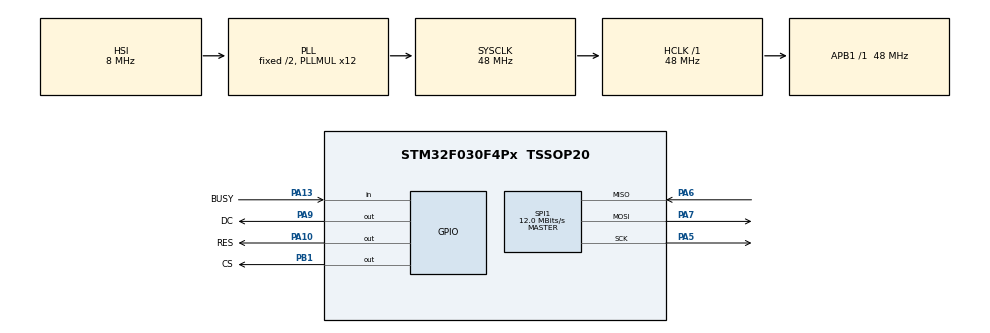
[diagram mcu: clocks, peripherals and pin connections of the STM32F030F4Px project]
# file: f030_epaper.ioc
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Mcu.Family=STM32F0
Mcu.Name=STM32F030F4Px
Mcu.Package=TSSOP20
PA10.GPIO_Label=RES
PA10.Signal=GPIO_Output
PA13.GPIO_Label=BUSY
PA13.Signal=GPIO_Input
PA5.Mode=Full_Duplex_Master
PA5.Signal=SPI1_SCK
PA6.Mode=Full_Duplex_Master
PA6.Signal=SPI1_MISO
PA7.Mode=Full_Duplex_Master
PA7.Signal=SPI1_MOSI
PA9.GPIO_Label=DC
PA9.Signal=GPIO_Output
PB1.GPIO_Label=CS
PB1.Signal=GPIO_Output
ProjectManager.HeapSize=0x200
ProjectManager.StackSize=0x400
ProjectManager.TargetToolchain=MDK-ARM V5
RCC.AHBFreq_Value=48000000
RCC.APB1Freq_Value=48000000
RCC.APB1TimFreq_Value=48000000
RCC.HCLKFreq_Value=48000000
RCC.PLLMUL=RCC_PLL_MUL12
RCC.SYSCLKFreq_VALUE=48000000
RCC.SYSCLKSource=RCC_SYSCLKSOURCE_PLLCLK
SPI1.BaudRatePrescaler=SPI_BAUDRATEPRESCALER_4
SPI1.CalculateBaudRate=12.0 MBits/s
SPI1.DataSize=SPI_DATASIZE_8BIT
SPI1.Direction=SPI_DIRECTION_2LINES
SPI1.Mode=SPI_MODE_MASTER
SPI1.VirtualType=VM_MASTER
board=custom

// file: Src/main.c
/* USER CODE BEGIN Header */
/**
  ******************************************************************************
  * @file           : main.c
  * @brief          : Main program body
  ******************************************************************************
  * @attention
  *
  * <h2><center>&copy; Copyright (c) 2019 STMicroelectronics.
  * All rights reserved.</center></h2>
  *
  * This software component is licensed by ST under BSD 3-Clause license,
  * the "License"; You may not use this file except in compliance with the
  * License. You may obtain a copy of the License at:
  *                        opensource.org/licenses/BSD-3-Clause
  *
  ******************************************************************************
  */
/* USER CODE END Header */

#include "main.h"
#include "spi.h"
#include "gpio.h"
#include "epd_2in9.h"

/* USER CODE BEGIN PV */
const uint8_t gImage_logo[4736] = { /* 0X00,0X01,0X80,0X00,0X28,0X01, */
0XFF,0XFF,0XFF,0XFF,0XFF,0XFF,0XFF,0XFF,0XFF,0XFF,0XFF,0XFF,0XFF,0XFF,0XFF,0XFF,
0XFF,0XFF,0XFF,0XFF,0XFF,0XFF,0XFF,0XFF,0XFF,0XFF,0XFF,0XFF,0XFF,0XFF,0XFF,0XFF,
0XFF,0XFF,0XFF,0XFF,0XFF,0XFF,0XFF,0XFF,0XFF,0XFF,0XFF,0XFF,0XFF,0XFF,0XFF,0XFF,
0XFF,0XFF,0XFF,0XFF,0XFF,0XFF,0XFF,0XFF,0XFF,0XFF,0XFF,0XFF,0XFF,0XFF,0XFF,0XFF,
0XFF,0XFF,0XFF,0XFF,0XFF,0XFF,0XFF,0XFF,0XFF,0XFF,0XFF,0XFF,0XFF,0XFF,0XFF,0XFF,
0XFF,0XFF,0XFF,0XFF,0XFF,0XFF,0XFF,0X80,0X03,0XFF,0XFF,0XFF,0XFF,0XFF,0XFF,0XFF,
0XFF,0XFF,0XFF,0XFF,0XFF,0XFF,0XFC,0X00,0X00,0XFF,0XFF,0XFF,0XFF,0XFF,0XFF,0XFF,
0XFF,0XFF,0XFF,0XFF,0XFF,0XFF,0XF8,0X00,0X00,0X3F,0XFF,0XFF,0XFF,0XFF,0XFF,0XFF,
0XFF,0XFF,0XFF,0XFF,0XFF,0XFF,0XE0,0X00,0X00,0X0F,0XFF,0XFF,0XFF,0XFF,0XFF,0XFF,
0XFF,0XFF,0XFF,0XFF,0XFF,0XFF,0X80,0X00,0X00,0X03,0XFF,0XFF,0XFF,0XFF,0XFF,0XFF,
0XFF,0XFF,0XFF,0XFF,0XFF,0XFE,0X00,0X00,0X00,0X01,0XFF,0XFF,0XFF,0XFF,0XFF,0XFF,
0XFF,0XFF,0XFF,0XFF,0XFF,0XFC,0X00,0X00,0X00,0X00,0X7F,0XFF,0XFF,0XFF,0XFF,0XFF,
0XFF,0XFF,0XFF,0XFF,0XFF,0XF0,0X00,0X00,0X00,0X00,0X1F,0XFF,0XFF,0XFF,0XFF,0XFF,
0XFF,0XFF,0XFF,0XFF,0XFF,0XC0,0X00,0X00,0X00,0X00,0X07,0XFF,0XFF,0XFF,0XFF,0XFF,
0XFF,0XFF,0XFF,0XFF,0XFF,0X00,0X00,0X00,0X00,0X00,0X03,0XFF,0XFF,0XFF,0XFF,0XFF,
0XFF,0XFF,0XFF,0XFF,0XFE,0X00,0X00,0X1F,0XE0,0X00,0X00,0XFF,0XFF,0XFF,0XFF,0XFF,
0XFF,0XFF,0XFF,0XFF,0XF8,0X00,0X00,0X7F,0XF8,0X00,0X00,0X3F,0XFF,0XFF,0XFF,0XFF,
0XFF,0XFF,0XFF,0XFF,0XE0,0X00,0X00,0XFF,0XFE,0X00,0X00,0X0F,0XFF,0XFF,0XFF,0XFF,
0XFF,0XFF,0XFF,0XFF,0X80,0X00,0X03,0XFF,0XFF,0X80,0X00,0X07,0XFF,0XFF,0XFF,0XFF,
0XFF,0XFF,0XFF,0XFF,0X00,0X00,0X0F,0XFF,0XFF,0XE0,0X00,0X01,0XFF,0XFF,0XFF,0XFF,
0XFF,0XFF,0XFF,0XFC,0X00,0X00,0X3F,0XFF,0XFF,0XF0,0X00,0X00,0X7F,0XFF,0XFF,0XFF,
0XFF,0XFF,0XFF,0XF0,0X00,0X00,0X7F,0XFF,0XFF,0XFC,0X00,0X00,0X3F,0XFF,0XFF,0XFF,
0XFF,0XFF,0XFF,0XC0,0X00,0X01,0XFF,0XFF,0XFF,0XFF,0X00,0X00,0X0F,0XFF,0XFF,0XFF,
0XFF,0XFF,0XFF,0X80,0X00,0X07,0XFF,0XFF,0XFF,0XFF,0XC0,0X00,0X03,0XFF,0XFF,0XFF,
0XFF,0XFF,0XFE,0X00,0X00,0X1F,0XFF,0XFF,0XFF,0XFF,0XE0,0X00,0X00,0XFF,0XFF,0XFF,
0XFF,0XFF,0XF8,0X00,0X00,0X3F,0XFF,0XFF,0XFF,0XFF,0XF8,0X00,0X00,0X7F,0XFF,0XFF,
0XFF,0XFF,0XF0,0X00,0X00,0XFF,0XFF,0XFF,0XFF,0XFF,0XFE,0X00,0X00,0X1F,0XFF,0XFF,
0XFF,0XFF,0XC0,0X00,0X03,0XFF,0XFF,0XFF,0XFF,0XFF,0XFF,0X80,0X00,0X0F,0XFF,0XFF,
0XFF,0XFF,0X80,0X00,0X0F,0XFF,0XFF,0XFF,0XFF,0XFF,0XFF,0XC0,0X00,0X03,0XFF,0XFF,
0XFF,0XFF,0X00,0X00,0X1F,0XFF,0XFF,0XFF,0XFF,0XFF,0XFF,0XF0,0X00,0X01,0XFF,0XFF,
0XFF,0XFE,0X00,0X00,0X7F,0XFF,0XFF,0XFF,0XFF,0XFF,0XFF,0XFC,0X00,0X00,0XFF,0XFF,
0XFF,0XFC,0X00,0X01,0XFF,0XFF,0XFF,0XFF,0XFF,0XFF,0XFF,0XFE,0X00,0X00,0XFF,0XFF,
0XFF,0XFC,0X00,0X07,0XFF,0XFF,0XFF,0XFF,0XFF,0XFF,0XFF,0XFF,0X80,0X00,0X7F,0XFF,
0XFF,0XF8,0X00,0X0F,0XFF,0XFF,0XFF,0XFF,0XFF,0XFF,0XFF,0XFF,0XE0,0X00,0X3F,0XFF,
0XFF,0XF8,0X00,0X3F,0XFE,0X07,0XFF,0XFF,0XFF,0XFF,0XFF,0XFF,0XF8,0X00,0X3F,0XFF,
0XFF,0XF0,0X00,0X7F,0XF8,0X01,0XFF,0XFF,0XFF,0XFF,0XFF,0XFF,0XFC,0X00,0X1F,0XFF,
0XFF,0XF0,0X01,0XFF,0XF0,0X00,0X7F,0XFF,0XFF,0XFF,0XFF,0XFF,0XFE,0X00,0X1F,0XFF,
0XFF,0XE0,0X01,0XFF,0XE0,0X00,0X00,0X01,0XFF,0XFF,0XFF,0XFF,0XFF,0X00,0X1F,0XFF,
0XFF,0XE0,0X03,0XFF,0XE0,0X60,0X00,0X00,0XFF,0XFF,0XFF,0XFF,0XFF,0X80,0X0F,0XFF,
0XFF,0XE0,0X07,0XFF,0XE1,0XF0,0X00,0X01,0XFF,0XFF,0XFF,0XFF,0XFF,0X80,0X0F,0XFF,
0XFF,0XC0,0X07,0XFF,0XC1,0XF8,0X00,0X00,0XFF,0XFF,0XFF,0XFF,0XFF,0XC0,0X0F,0XFF,
0XFF,0XC0,0X07,0XFF,0XC1,0XF8,0X00,0X01,0XFF,0XFF,0XFF,0XFF,0XFF,0XC0,0X0F,0XFF,
0XFF,0XC0,0X07,0XFF,0XC1,0XF8,0X00,0X00,0XFF,0XFF,0XFF,0XFF,0XFF,0XC0,0X07,0XFF,
0XFF,0XC0,0X0F,0XFF,0XE0,0XF0,0X00,0X00,0XFF,0XFF,0XFF,0XFF,0XFF,0XC0,0X07,0XFF,
0XFF,0XC0,0X0F,0XFF,0XE0,0X00,0X00,0X00,0X7F,0XFF,0XFF,0XFF,0XFF,0XC0,0X07,0XFF,
0XFF,0XC0,0X0F,0XFF,0XF0,0X00,0X00,0X00,0X00,0X00,0X00,0X00,0X00,0X00,0X07,0XFF,
0XFF,0XC0,0X0F,0XFF,0XF8,0X00,0XFF,0XF8,0X00,0X00,0X00,0X00,0X00,0X00,0X07,0XFF,
0XFF,0XC0,0X0F,0XFF,0XFC,0X03,0XFF,0XFC,0X00,0X00,0X00,0X00,0X00,0X00,0X07,0XFF,
0XFF,0XC0,0X0F,0XFF,0XFF,0X0F,0XFF,0XFE,0X00,0X00,0X00,0X00,0X00,0X00,0X07,0XFF,
0XFF,0XC0,0X0F,0XFF,0XFF,0XFF,0XFF,0XFE,0X00,0X00,0X00,0X00,0X00,0X00,0X07,0XFF,
0XFF,0XC0,0X0F,0XFF,0XFF,0X9F,0XFF,0XFE,0X00,0X00,0X00,0X00,0X00,0X00,0X07,0XFF,
0XFF,0XC0,0X0F,0XFF,0XFC,0X03,0XFF,0XFE,0X00,0X00,0X00,0X00,0X00,0X00,0X07,0XFF,
0XFF,0XC0,0X07,0XFF,0XF8,0X01,0XFF,0XFC,0X00,0X00,0X00,0X00,0X00,0X00,0X0F,0XFF,
0XFF,0X80,0X07,0XFF,0XF0,0X00,0X00,0X00,0X00,0X00,0X00,0X00,0X00,0X00,0X1F,0XFF,
0XFF,0X80,0X03,0XFF,0XE0,0X00,0X00,0X00,0X7F,0XFF,0XFF,0XFF,0XFF,0XFF,0XFF,0XFF,
0XFF,0X03,0X83,0XFF,0XE0,0XF0,0X00,0X00,0XFF,0XFF,0XFF,0XFF,0XFF,0XFF,0XFF,0XFF,
0XFF,0X0F,0XC1,0XFF,0XC1,0XF8,0X00,0X00,0XFF,0XFF,0XFF,0XFF,0XFF,0XFF,0XFF,0XFF,
0XFF,0X0F,0XC1,0XFF,0XC1,0XF8,0X00,0X01,0XFF,0XFF,0XFF,0XFF,0XFF,0XFF,0XFF,0XFF,
0XFF,0X0F,0XC1,0XFF,0XC1,0XF8,0X00,0X01,0XFF,0XFF,0XFF,0XFF,0XFF,0XFE,0XFF,0XFF,
0XFF,0X0F,0XC1,0XFF,0XC1,0XF8,0X00,0X01,0XFF,0XFF,0XC0,0XFF,0XFF,0XF0,0X1F,0XFF,
0XFF,0X07,0X83,0XFF,0XE0,0XF0,0X00,0X01,0XFF,0XFF,0X00,0X7F,0XFF,0XC0,0X0F,0XFF,
0XFF,0X00,0X03,0XFF,0XE0,0X00,0X00,0X01,0XFF,0XFC,0X00,0X1F,0XFF,0X80,0X07,0XFF,
0XFF,0X80,0X07,0XFF,0XF0,0X00,0X1F,0XFE,0X00,0X00,0X00,0X1F,0XFF,0X80,0X03,0XFF,
0XFF,0XC0,0X07,0XFF,0XF8,0X01,0XFF,0XFE,0X00,0X00,0X0C,0X0F,0XFF,0X03,0X83,0XFF,
0XFF,0XE0,0X1F,0XFF,0XFC,0X03,0XFF,0XFE,0X00,0X00,0X3E,0X0F,0XFF,0X07,0XC1,0XFF,
0XFF,0XF8,0X7F,0XFF,0XFF,0X9F,0XFF,0XFE,0X00,0X00,0X3F,0X0F,0XFF,0X0F,0XE1,0XFF,
0XFF,0XFF,0XFF,0XFF,0XFF,0XFF,0XFF,0XFE,0X00,0X00,0X3F,0X0F,0XFF,0X0F,0XE1,0XFF,
0XFF,0XFF,0XFF,0XFF,0XFF,0XFF,0XFF,0XFE,0X00,0X00,0X3F,0X0F,0XFF,0X07,0XC1,0XFF,
0XFF,0XFF,0XFF,0XFF,0XFF,0XFF,0XFF,0XFE,0X00,0X00,0X3E,0X0F,0XFF,0X07,0X81,0XFF,
0XFF,0XFF,0XFF,0XFF,0XFF,0XFF,0XFF,0XFC,0X00,0X00,0X0C,0X0F,0XFF,0X80,0X03,0XFF,
0XFF,0XFF,0XFF,0XFF,0XFF,0XFF,0XFF,0XF0,0X00,0X00,0X00,0X1F,0XFF,0X80,0X07,0XFF,
0XFF,0XE0,0X00,0X00,0X00,0X00,0X00,0X00,0X3F,0XFE,0X00,0X3F,0XFF,0XC0,0X07,0XFF,
0XFF,0XC0,0X00,0X00,0X00,0X00,0X00,0X00,0XFF,0XFF,0X00,0X7F,0XFF,0XC0,0X07,0XFF,
0XFF,0XC0,0X00,0X00,0X00,0X00,0X00,0X00,0XFF,0XFF,0XC1,0XFF,0XFF,0XC0,0X07,0XFF,
0XFF,0XC0,0X00,0X00,0X00,0X00,0X00,0X00,0XFF,0XFF,0XFF,0XFF,0XFF,0XC0,0X07,0XFF,
0XFF,0XC0,0X00,0X00,0X00,0X00,0X00,0X00,0XFF,0XFF,0XFF,0XFF,0XFF,0XC0,0X07,0XFF,
0XFF,0XC0,0X00,0X00,0X00,0X00,0X00,0X00,0XFF,0XFF,0X80,0XFF,0XFF,0XC0,0X07,0XFF,
0XFF,0XC0,0X00,0X00,0X00,0X00,0X00,0X00,0X7F,0XFF,0X00,0X3F,0XFF,0XC0,0X07,0XFF,
0XFF,0XC0,0X00,0X00,0X00,0X00,0X00,0X00,0X1F,0XF0,0X00,0X1F,0XFF,0XC0,0X07,0XFF,
0XFF,0XC0,0X0F,0XFF,0XFF,0XFF,0XFF,0XF8,0X00,0X00,0X00,0X1F,0XFF,0XC0,0X07,0XFF,
0XFF,0XC0,0X0F,0XFF,0XFF,0XFF,0XFF,0XFC,0X00,0X00,0X1E,0X0F,0XFF,0XC0,0X07,0XFF,
0XFF,0XC0,0X0F,0XFF,0XFF,0XFF,0XFF,0XFE,0X00,0X00,0X3F,0X0F,0XFF,0XC0,0X07,0XFF,
0XFF,0XC0,0X07,0XFF,0XFF,0XFF,0XFF,0XFE,0X00,0X00,0X3F,0X0F,0XFF,0XC0,0X07,0XFF,
0XFF,0XC0,0X07,0XFF,0XFF,0XFF,0XFF,0XFE,0X00,0X00,0X3F,0X0F,0XFF,0XC0,0X0F,0XFF,
0XFF,0XC0,0X07,0XFF,0XFF,0XFF,0XFF,0XFE,0X00,0X00,0X3F,0X0F,0XFF,0XC0,0X0F,0XFF,
0XFF,0XE0,0X07,0XFF,0XFF,0XFF,0XFF,0XFE,0X00,0X00,0X1E,0X0F,0XFF,0X80,0X0F,0XFF,
0XFF,0XE0,0X03,0XFF,0XFF,0XFF,0XFF,0XFE,0X00,0X00,0X00,0X0F,0XFF,0X80,0X0F,0XFF,
0XFF,0XE0,0X01,0XFF,0XFF,0XFF,0XFF,0XFF,0X00,0X00,0X00,0X1F,0XFF,0X00,0X1F,0XFF,
0XFF,0XF0,0X01,0XFF,0XFF,0XFF,0XFF,0XFF,0XFF,0XFE,0X00,0X3F,0XFE,0X00,0X1F,0XFF,
0XFF,0XF0,0X00,0X7F,0XFF,0XFF,0XFF,0XFF,0XFF,0XFF,0X80,0X7F,0XFC,0X00,0X1F,0XFF,
0XFF,0XF8,0X00,0X3F,0XFF,0XFF,0XFF,0XFF,0XFF,0XFF,0XE1,0XFF,0XF8,0X00,0X3F,0XFF,
0XFF,0XF8,0X00,0X0F,0XFF,0XFF,0XFF,0XFF,0XFF,0XFF,0XFF,0XFF,0XE0,0X00,0X3F,0XFF,
0XFF,0XFC,0X00,0X07,0XFF,0XFF,0XFF,0XFF,0XFF,0XFF,0XFF,0XFF,0X80,0X00,0X7F,0XFF,
0XFF,0XFC,0X00,0X01,0XFF,0XFF,0XFF,0XFF,0XFF,0XFF,0XFF,0XFF,0X00,0X00,0XFF,0XFF,
0XFF,0XFE,0X00,0X00,0X7F,0XFF,0XFF,0XFF,0XFF,0XFF,0XFF,0XFC,0X00,0X00,0XFF,0XFF,
0XFF,0XFF,0X00,0X00,0X1F,0XFF,0XFF,0XFF,0XFF,0XFF,0XFF,0XF0,0X00,0X01,0XFF,0XFF,
0XFF,0XFF,0X80,0X00,0X0F,0XFF,0XFF,0XFF,0XFF,0XFF,0XFF,0XC0,0X00,0X03,0XFF,0XFF,
0XFF,0XFF,0XC0,0X00,0X03,0XFF,0XFF,0XFF,0XFF,0XFF,0XFF,0X80,0X00,0X07,0XFF,0XFF,
0XFF,0XFF,0XE0,0X00,0X00,0XFF,0XFF,0XFF,0XFF,0XFF,0XFE,0X00,0X00,0X1F,0XFF,0XFF,
0XFF,0XFF,0XF8,0X00,0X00,0X3F,0XFF,0XFF,0XFF,0XFF,0XF8,0X00,0X00,0X7F,0XFF,0XFF,
0XFF,0XFF,0XFE,0X00,0X00,0X1F,0XFF,0XFF,0XFF,0XFF,0XE0,0X00,0X00,0XFF,0XFF,0XFF,
0XFF,0XFF,0XFF,0X80,0X00,0X07,0XFF,0XFF,0XFF,0XFF,0XC0,0X00,0X03,0XFF,0XFF,0XFF,
0XFF,0XFF,0XFF,0XC0,0X00,0X01,0XFF,0XFF,0XFF,0XFF,0X00,0X00,0X0F,0XFF,0XFF,0XFF,
0XFF,0XFF,0XFF,0XF0,0X00,0X00,0XFF,0XFF,0XFF,0XFC,0X00,0X00,0X1F,0XFF,0XFF,0XFF,
0XFF,0XFF,0XFF,0XFC,0X00,0X00,0X3F,0XFF,0XFF,0XF0,0X00,0X00,0X7F,0XFF,0XFF,0XFF,
0XFF,0XFF,0XFF,0XFF,0X00,0X00,0X0F,0XFF,0XFF,0XE0,0X00,0X01,0XFF,0XFF,0XFF,0XFF,
0XFF,0XFF,0XFF,0XFF,0X80,0X00,0X03,0XFF,0XFF,0X80,0X00,0X07,0XFF,0XFF,0XFF,0XFF,
0XFF,0XFF,0XFF,0XFF,0XE0,0X00,0X01,0XFF,0XFE,0X00,0X00,0X0F,0XFF,0XFF,0XFF,0XFF,
0XFF,0XFF,0XFF,0XFF,0XF8,0X00,0X00,0X7F,0XFC,0X00,0X00,0X3F,0XFF,0XFF,0XFF,0XFF,
0XFF,0XFF,0XFF,0XFF,0XFE,0X00,0X00,0X1F,0XE0,0X00,0X00,0XFF,0XFF,0XFF,0XFF,0XFF,
0XFF,0XFF,0XFF,0XFF,0XFF,0X00,0X00,0X00,0X00,0X00,0X03,0XFF,0XFF,0XFF,0XFF,0XFF,
0XFF,0XFF,0XFF,0XFF,0XFF,0XC0,0X00,0X00,0X00,0X00,0X07,0XFF,0XFF,0XFF,0XFF,0XFF,
0XFF,0XFF,0XFF,0XFF,0XFF,0XF0,0X00,0X00,0X00,0X00,0X1F,0XFF,0XFF,0XFF,0XFF,0XFF,
0XFF,0XFF,0XFF,0XFF,0XFF,0XFC,0X00,0X00,0X00,0X00,0X7F,0XFF,0XFF,0XFF,0XFF,0XFF,
0XFF,0XFF,0XFF,0XFF,0XFF,0XFE,0X00,0X00,0X00,0X01,0XFF,0XFF,0XFF,0XFF,0XFF,0XFF,
0XFF,0XFF,0XFF,0XFF,0XFF,0XFF,0X80,0X00,0X00,0X03,0XFF,0XFF,0XFF,0XFF,0XFF,0XFF,
0XFF,0XFF,0XFF,0XFF,0XFF,0XFF,0XE0,0X00,0X00,0X0F,0XFF,0XFF,0XFF,0XFF,0XFF,0XFF,
0XFF,0XFF,0XFF,0XFF,0XFF,0XFF,0XF0,0X00,0X00,0X3F,0XFF,0XFF,0XFF,0XFF,0XFF,0XFF,
0XFF,0XFF,0XFF,0XFF,0XFF,0XFF,0XFC,0X00,0X00,0XFF,0XFF,0XFF,0XFF,0XFF,0XFF,0XFF,
0XFF,0XFF,0XFF,0XFF,0XFF,0XFF,0XFF,0X80,0X03,0XFF,0XFF,0XFF,0XFF,0XFF,0XFF,0XFF,
0XFF,0XFF,0XFF,0XFF,0XFF,0XFF,0XFF,0XFF,0XFF,0XFF,0XFF,0XFF,0XFF,0XFF,0XFF,0XFF,
0XFF,0XFF,0XFF,0XFF,0XFF,0XFF,0XFF,0XFF,0XFF,0XFF,0XFF,0XFF,0XFF,0XFF,0XFF,0XFF,
0XFF,0XFF,0XFF,0XFF,0XFF,0XFF,0XFF,0XFF,0XFF,0XFF,0XFF,0XFF,0XFF,0XFF,0XFF,0XFF,
0XFF,0XFF,0XFF,0XFF,0XFF,0XFF,0XFF,0XFF,0XFF,0XFF,0XFF,0XFF,0XFF,0XFF,0XFF,0XFF,
0XFF,0XFF,0XFF,0XFF,0XFF,0XFF,0XFF,0XFF,0XFF,0XFF,0XFF,0XFF,0XFF,0XFF,0XFF,0XFF,
0XFF,0XFF,0XFF,0XFE,0X1F,0XFC,0X07,0XFF,0XFF,0XFF,0XFF,0XFF,0XFF,0X83,0XFF,0XFF,
0XFF,0XE0,0XFE,0X1E,0X0F,0XE0,0X01,0XFF,0XFF,0XFF,0XFF,0XFF,0XFF,0X87,0XFF,0XFF,
0XFF,0XE1,0XFE,0X1E,0X0F,0XC0,0X00,0X7F,0XFF,0XFF,0XFF,0XFF,0XFF,0X87,0XFF,0XFF,
0XFF,0XE1,0XFC,0X1E,0X0F,0X80,0X00,0X3F,0XFF,0XFF,0XFF,0XFF,0XFF,0X87,0XFF,0XFF,
0XFF,0XC1,0XFC,0X1F,0X1F,0X00,0XE0,0X1F,0XFF,0XFF,0XFF,0XFF,0XFF,0X87,0XFF,0XFF,
0XFF,0XC1,0XFC,0X1F,0XFE,0X07,0XF8,0X1F,0XFF,0XFF,0XFF,0XFF,0XFF,0X07,0XFF,0XFF,
0XFF,0XC1,0XFC,0X1E,0X1C,0X0F,0XFE,0X7F,0XF8,0X1F,0XFF,0X81,0XFF,0X07,0XC0,0XFF,
0XFF,0XC1,0XFC,0X1C,0X1C,0X1F,0XFF,0XFF,0XE0,0X07,0XFE,0X00,0X7F,0X07,0X81,0XFF,
0XFF,0XC3,0XFC,0X3C,0X18,0X1F,0XFF,0XFF,0XC0,0X03,0XF8,0X00,0X3F,0X07,0X03,0XFF,
0XFF,0XC0,0X00,0X3C,0X38,0X3F,0XFF,0XFF,0X80,0X01,0XF8,0X00,0X1F,0X0E,0X07,0XFF,
0XFF,0XC0,0X00,0X3C,0X38,0X3F,0XFF,0XFF,0X03,0XC1,0XF0,0X38,0X1F,0X08,0X0F,0XFF,
0XFF,0X80,0X00,0X3C,0X38,0X3F,0X00,0X0E,0X0F,0XE0,0XE0,0XFE,0X0F,0X00,0X3F,0XFF,
0XFF,0X80,0X00,0X3C,0X38,0X7F,0X00,0X0E,0X0F,0XF0,0XE0,0XFE,0X0E,0X00,0X7F,0XFF,
0XFF,0X83,0XF8,0X38,0X38,0X7F,0X00,0X0E,0X00,0X00,0XE0,0X00,0X0E,0X00,0XFF,0XFF,
0XFF,0X83,0XF8,0X38,0X38,0X3F,0X00,0X0C,0X00,0X00,0XC0,0X00,0X0E,0X00,0XFF,0XFF,
0XFF,0X83,0XF8,0X78,0X38,0X3F,0X00,0X1C,0X00,0X00,0XC0,0X00,0X0E,0X00,0X7F,0XFF,
0XFF,0X87,0XF8,0X78,0X38,0X3F,0XFC,0X1C,0X1F,0XFF,0XC1,0XFF,0XFE,0X10,0X3F,0XFF,
0XFF,0X87,0XF0,0X78,0X7C,0X1F,0XF8,0X1E,0X1F,0XFF,0XE1,0XFF,0XFE,0X18,0X1F,0XFF,
0XFF,0X07,0XF0,0X78,0X7C,0X07,0XF0,0X3E,0X0F,0XCF,0XE0,0XFC,0XFE,0X1C,0X1F,0XFF,
0XFF,0X07,0XF0,0X78,0X7E,0X00,0X00,0X7E,0X00,0X03,0XE0,0X00,0X3E,0X1E,0X0F,0XFF,
0XFF,0X07,0XF0,0X70,0X7F,0X00,0X00,0XFF,0X00,0X03,0XF0,0X00,0X3C,0X1F,0X07,0XFF,
0XFF,0X07,0XF0,0X70,0X7F,0X80,0X01,0XFF,0X80,0X07,0XF8,0X00,0X7C,0X1F,0X03,0XFF,
0XFF,0X07,0XF0,0XF0,0X7F,0XC0,0X03,0XFF,0XC0,0X0F,0XFC,0X00,0XFC,0X1F,0X81,0XFF,
0XFF,0XFF,0XFF,0XFF,0XFF,0XF8,0X1F,0XFF,0XF8,0X7F,0XFF,0X87,0XFF,0XFF,0XFF,0XFF,
0XFF,0XFF,0XFF,0XFF,0XFF,0XFF,0XFF,0XFF,0XFF,0XFF,0XFF,0XFF,0XFF,0XFF,0XFF,0XFF,
0XFF,0XFF,0XFF,0XFF,0XFF,0XFF,0XFF,0XFF,0XFF,0XFF,0XFF,0XFF,0XFF,0XFF,0XFF,0XFF,
0XFF,0XFF,0XFF,0XBF,0XFF,0XFF,0XFF,0XFF,0XFF,0XFF,0XFF,0XFF,0XFE,0XFF,0XFF,0XFF,
0XFF,0XFF,0X3F,0X9F,0XFF,0XCC,0XFF,0XFC,0XFF,0XFF,0XCF,0XFF,0XFE,0X7F,0XFF,0XFF,
0XFF,0XFF,0X38,0X93,0XFF,0XCE,0X7F,0X00,0X03,0XFF,0XCF,0XFF,0X00,0X01,0XFF,0XFF,
0XFF,0XFF,0X38,0X01,0XFF,0XCE,0X7E,0X7F,0XF9,0XF0,0X00,0X3F,0X3F,0XFD,0XFF,0XFF,
0XFF,0XFE,0X0F,0X9F,0XE0,0X00,0X1E,0X7F,0XF9,0XFF,0XFF,0X3F,0X3F,0XFD,0XFF,0XFF,
0XFF,0XFC,0X0F,0X9F,0XE0,0X00,0X3F,0X7F,0XF9,0XFF,0XFE,0X7F,0X80,0X01,0XFF,0XFF,
0XFF,0XFF,0X38,0X03,0XFC,0XCC,0XFF,0X80,0X03,0XFF,0XFC,0XFF,0XF8,0XFB,0XFF,0XFF,
0XFF,0XFF,0X38,0X03,0XFD,0XCC,0XFF,0X00,0X07,0XFF,0XF9,0XFF,0XF2,0X73,0XFF,0XFF,
0XFF,0XFF,0X3D,0XF3,0XF9,0XCC,0XFF,0XFC,0XFF,0XFF,0XF3,0XFF,0XC6,0X67,0XFF,0XFF,
0XFF,0XFF,0X3C,0XE7,0XF9,0XCE,0XFF,0XFC,0XFF,0XFF,0XE7,0XFF,0X1C,0X4F,0XFF,0XFF,
0XFF,0XFF,0X0E,0X4F,0XF9,0XCE,0X7E,0X00,0X01,0XFF,0XCF,0XFF,0XF1,0X4F,0XFF,0XFF,
0XFF,0XFC,0X1F,0X0F,0XFB,0XCE,0X7E,0X00,0X01,0XFF,0X9F,0XFF,0XC2,0X67,0XFF,0XFF,
0XFF,0XFF,0X3F,0X1F,0XF3,0XCE,0X7F,0XFC,0XFF,0XFE,0X3F,0XFF,0X0C,0X67,0XFF,0XFF,
0XFF,0XFF,0X3F,0X1F,0XF3,0XCF,0X3F,0XFC,0XFF,0XFC,0X7F,0XFF,0XF8,0X73,0XFF,0XFF,
0XFF,0XFF,0X3E,0X4F,0XE7,0XCF,0X3F,0XFC,0XFF,0XF8,0XFF,0XFF,0XC3,0X73,0XFF,0XFF,
0XFF,0XFE,0X3C,0XE3,0XE7,0XCF,0XBF,0XFC,0X01,0XF0,0X00,0X1F,0X0C,0X79,0XFF,0XFF,
0XFF,0XFE,0X79,0XF3,0XEF,0XDF,0X9F,0XFE,0X01,0XF3,0X80,0X1F,0XF8,0X7F,0XFF,0XFF,
0XFF,0XFF,0XFF,0XFF,0XFF,0XFF,0XFF,0XFF,0XFF,0XFF,0XFF,0XFF,0XFF,0XFF,0XFF,0XFF,
0XFF,0XFF,0XFF,0XFF,0XFF,0XFF,0XFF,0XFF,0XFF,0XFF,0XFF,0XFF,0XFF,0XFF,0XFF,0XFF,
0XFF,0XFF,0XFF,0XFF,0XFF,0XFF,0XFF,0XFF,0XFF,0XFF,0XFF,0XFF,0XFF,0XFF,0XFF,0XFF,
0XFF,0XFF,0XFF,0XFF,0XFF,0XFF,0XFF,0XFF,0XFF,0XFF,0XFF,0XFF,0XFF,0XFF,0XFF,0XFF,
0XFF,0XFF,0XFF,0XFF,0XFF,0XFF,0XFF,0XFF,0XFF,0XFF,0XFF,0XFF,0XFF,0XFF,0XFF,0XFF,
0XFF,0XFF,0XFF,0XFF,0XFF,0XFF,0XFF,0XFF,0XFF,0XFF,0XFF,0XFF,0XFF,0XFF,0XFF,0XFF,
0XFF,0XFF,0XFF,0XFF,0XFF,0XFF,0XFF,0XFF,0XFF,0XFF,0XFF,0XFF,0XFF,0XFF,0XFF,0XFF,
0XFF,0XFF,0XFF,0XFF,0XFF,0XFF,0XFF,0XFF,0XFF,0XFF,0XFF,0XFF,0XFF,0XFF,0XFF,0XFF,
0XFF,0XFF,0XFF,0XFF,0XFF,0XFF,0XFF,0XFF,0XFF,0XFF,0XFF,0XFF,0XFF,0XFF,0XFF,0XFF,
0XFF,0XFF,0XFF,0XFF,0XFF,0XFF,0XFF,0XFF,0XFF,0XFF,0XFF,0XFF,0XFF,0XFF,0XFF,0XFF,
0XFF,0XFF,0XFF,0XFF,0XFF,0XFF,0XFF,0XFF,0XFF,0XFF,0XFF,0XFF,0XFF,0XFF,0XFF,0XFF,
0XFF,0XFF,0XFF,0XFF,0XFF,0XFF,0XFF,0XFF,0XFF,0XFF,0XFF,0XFF,0XFF,0XFF,0XFF,0XFF,
0XFF,0XFF,0XFF,0XFF,0XFF,0XFF,0XFF,0XFF,0XFF,0XFF,0XFF,0XFF,0XFF,0XFF,0XFF,0XFF,
0XFF,0XFF,0XFF,0XFF,0XFF,0XFF,0XFF,0XFF,0XFF,0XFF,0XFF,0XFF,0XFF,0XFF,0XFF,0XFF,
0XFF,0XFF,0XFF,0XFF,0XFF,0XFF,0XFF,0XFF,0XFF,0XFF,0XFF,0XFF,0XFF,0XFF,0XFF,0XFF,
0XFF,0XFF,0XFF,0XFF,0XFF,0XFF,0XFF,0XFF,0XFF,0XFF,0XFF,0XFF,0XFF,0XFF,0XFF,0XFF,
0XFF,0XFF,0XFF,0XFF,0XFF,0XFF,0XFF,0XFF,0XFF,0XFF,0XFF,0XFF,0XFF,0XFF,0XFF,0XFF,
0XFF,0XFF,0XFF,0XFF,0XFF,0XFF,0XFF,0XFF,0XFF,0XFF,0XFF,0XFF,0XFF,0XFF,0XFF,0XFF,
0XFF,0XFF,0XFF,0XFF,0XFF,0XFF,0XFF,0XFF,0XFF,0XFF,0XFF,0XFF,0XFF,0XFF,0XFF,0XFF,
0XFF,0XFF,0XFF,0XFF,0XFF,0XFF,0XFF,0XFF,0XFF,0XFF,0XFF,0XFF,0XFF,0XFF,0XFF,0XFF,
0XFF,0XFF,0XFF,0XFF,0XFF,0XFF,0XFF,0XFF,0XFF,0XFF,0XFF,0XFF,0XFF,0XFF,0XFF,0XFF,
0XFF,0XFF,0XFF,0XFF,0XFF,0XFF,0XFF,0XFF,0XFF,0XFF,0XFF,0XFF,0XFF,0XFF,0XFF,0XFF,
0XFF,0XFF,0XFF,0XFF,0XFF,0XFF,0XFF,0XFF,0XFF,0XFF,0XFF,0XFF,0XFF,0XFF,0XFF,0XFF,
0XFF,0XFF,0XFF,0XFF,0XFF,0XFF,0XFF,0XFF,0XFF,0XFF,0XFF,0XFF,0XFF,0XFF,0XFF,0XFF,
0XFF,0XFF,0XFF,0XFF,0XFF,0XFF,0XFF,0XFF,0XFF,0XFF,0XFF,0XFF,0XFF,0XFF,0XFF,0XFF,
0XFF,0XFF,0XFF,0XFF,0XFF,0XFF,0XFF,0XFF,0XFF,0XFF,0XFF,0XFF,0XFF,0XFF,0XFF,0XFF,
0XFF,0XFF,0XFF,0XFF,0XFF,0XFF,0XFF,0XFF,0XFF,0XFF,0XFF,0XFF,0XFF,0XFF,0XFF,0XFF,
0XFF,0XFF,0XFF,0XFF,0XFF,0XFF,0XFF,0XFF,0XFF,0XFF,0XFF,0XFF,0XFF,0XFF,0XFF,0XFF,
0XFF,0XFF,0XFF,0XFF,0XFF,0XFF,0XFF,0XFF,0XFF,0XFF,0XFF,0XFF,0XFF,0XFF,0XFF,0XFF,
0XFF,0XFF,0XFF,0XFF,0XFF,0XFF,0XFF,0XFF,0XFF,0XFF,0XFF,0XFF,0XFF,0XFF,0XFF,0XFF,
0XFF,0XFF,0XFF,0XFF,0XFF,0XFF,0XFF,0XFF,0XFF,0XFF,0XFF,0XFF,0XFF,0XFF,0XFF,0XFF,
0XFF,0XFF,0XFF,0XFF,0XFF,0XFF,0XFF,0XFF,0XFF,0XFF,0XFF,0XFF,0XFF,0XFF,0XFF,0XFF,
0XFF,0XFF,0XFF,0XFF,0XFF,0XFF,0XFF,0XFF,0XFF,0XFF,0XFF,0XFF,0XFF,0XFF,0XFF,0XFF,
0XFF,0XFF,0XFF,0XFF,0XFF,0XFF,0XFF,0XFF,0XFF,0XFF,0XFF,0XFF,0XFF,0XFF,0XFF,0XFF,
0XFF,0XFF,0XFF,0XFF,0XFF,0XFF,0XFF,0XFF,0XFF,0XFF,0XFF,0XFF,0XFF,0XFF,0XFF,0XFF,
0XFF,0XFF,0XFF,0XFF,0XFF,0XFF,0XFF,0XFF,0XFF,0XFF,0XFF,0XFF,0XFF,0XFF,0XFF,0XFF,
0XFF,0XFF,0XFF,0XFF,0XFF,0XFF,0XFF,0XFF,0XFF,0XFF,0XFF,0XFF,0XFF,0XFF,0XFF,0XFF,
0XFF,0XFF,0XFF,0XFF,0XFF,0XFF,0XFF,0XFF,0XFF,0XFF,0XFF,0XFF,0XFF,0XFF,0XFF,0XFF,
0XFF,0XFF,0XFF,0XFF,0XFF,0XFF,0XFF,0XFF,0XFF,0XFF,0XFF,0XFF,0XFF,0XFF,0XFF,0XFF,
0XFF,0XFF,0XFF,0XFF,0XFF,0XFF,0XFF,0XFF,0XFF,0XFF,0XFF,0XFF,0XFF,0XFF,0XFF,0XFF,
0XFF,0XFF,0XFF,0XFF,0XFF,0XFF,0XFF,0XFF,0XFF,0XFF,0XFF,0XFF,0XFF,0XFF,0XFF,0XFF,
0XFF,0XFF,0XFF,0XFF,0XFF,0XFF,0XFF,0XFF,0XFF,0XFF,0XFF,0XFF,0XFF,0XFF,0XFF,0XFF,
0XFF,0XFF,0XFF,0XFF,0XFF,0XFF,0XFF,0XFF,0XFF,0XFF,0XFF,0XFF,0XFF,0XFF,0XFF,0XFF,
0XFF,0XFF,0XFF,0XFF,0XFF,0XFF,0XFF,0XFF,0XFF,0XFF,0XFF,0XFF,0XFF,0XFF,0XFF,0XFF,
0XFF,0XFF,0XFF,0XFF,0XFF,0XFF,0XFF,0XFF,0XFF,0XFF,0XFF,0XFF,0XFF,0XFF,0XFF,0XFF,
0XFF,0XFF,0XFF,0XFF,0XFF,0XFF,0XFF,0XFF,0XFF,0XFF,0XFF,0XFF,0XFF,0XFF,0XFF,0XFF,
0XFF,0XFF,0XFF,0XFF,0XFF,0XFF,0XFF,0XFF,0XFF,0XFF,0XFF,0XFF,0XFF,0XFF,0XFF,0XFF,
0XFF,0XFF,0XFF,0XFF,0XFF,0XFF,0XFF,0XFF,0XFF,0XFF,0XFF,0XFF,0XFF,0XFF,0XFF,0XFF,
0XFF,0XFF,0XFF,0XFF,0XFF,0XFF,0XFF,0XFF,0XFF,0XFF,0XFF,0XFF,0XFF,0XFF,0XFF,0XFF,
0XFF,0XFF,0XFF,0XFF,0XFF,0XFF,0XFF,0XFF,0XFF,0XFF,0XFF,0XFF,0XFF,0XFF,0XFF,0XFF,
0XFF,0XFF,0XFF,0XFF,0XFF,0XFF,0XFF,0XFF,0XFF,0XFF,0XFF,0XFF,0XFF,0XFF,0XFF,0XFF,
0XFF,0XFF,0XFF,0XFF,0XFF,0XFF,0XFF,0XFF,0XFF,0XFF,0XFF,0XFF,0XFF,0XFF,0XFF,0XFF,
0XFF,0XFF,0XFF,0XFF,0XFF,0XFF,0XFF,0XFF,0XFF,0XFF,0XFF,0XFF,0XFF,0XFF,0XFF,0XFF,
0XFF,0XFF,0XFF,0XFF,0XFF,0XFF,0XFF,0XFF,0XFF,0XFF,0XFF,0XFF,0XFF,0XFF,0XFF,0XFF,
0XFF,0XFF,0XFF,0XFF,0XFF,0XFF,0XFF,0XFF,0XFF,0XFF,0XFF,0XFF,0XFF,0XFF,0XFF,0XFF,
0XFF,0XFF,0XFF,0XFF,0XFF,0XFF,0XFF,0XFF,0XFF,0XFF,0XFF,0XFF,0XFF,0XFF,0XFF,0XFF,
0XFF,0XFF,0XFF,0XFF,0XFF,0XFF,0XFF,0XFF,0XFF,0XFF,0XFF,0XFF,0XFF,0XFF,0XFF,0XFF,
0XFF,0XFF,0XFF,0XFF,0XFF,0XFF,0XFF,0XFF,0XFF,0XFF,0XFF,0XFF,0XFF,0XFF,0XFF,0XFF,
0XFF,0XFF,0XFF,0XFF,0XFF,0XFF,0XFF,0XFF,0XFF,0XFF,0XFF,0XFF,0XFF,0XFF,0XFF,0XFF,
0XFF,0XFF,0XFF,0XFF,0XFF,0XFF,0XFF,0XFF,0XFF,0XFF,0XFF,0XFF,0XFF,0XFF,0XFF,0XFF,
0XFF,0XFF,0XFF,0XFF,0XFF,0XFF,0XFF,0XFF,0XFF,0XFF,0XFF,0XFF,0XFF,0XFF,0XFF,0XFF,
0XFF,0XFF,0XFF,0XFF,0XFF,0XFF,0XFF,0XFF,0XFF,0XFF,0XFF,0XFF,0XFF,0XFF,0XFF,0XFF,
0XFF,0XFF,0XFF,0XFF,0XFF,0XFF,0XFF,0XFF,0XFF,0XFF,0XFF,0XFF,0XFF,0XFF,0XFF,0XFF,
0XFF,0XFF,0XFF,0XFF,0XFF,0XFF,0XFF,0XFF,0XFF,0XFF,0XFF,0XFF,0XFF,0XFF,0XFF,0XFF,
0XFF,0XFF,0XFF,0XFF,0XFF,0XFF,0XFF,0XFF,0XFF,0XFF,0XFF,0XFF,0XFF,0XFF,0XFF,0XFF,
0XFF,0XFF,0XFF,0XFF,0XFF,0XFF,0XFF,0XFF,0XFF,0XFF,0XFF,0XFF,0XFF,0XFF,0XFF,0XFF,
0XFF,0XFF,0XFF,0XFF,0XFF,0XFF,0XFF,0XFF,0XFF,0XFF,0XFF,0XFF,0XFF,0XFF,0XFF,0XFF,
0XFF,0XFF,0XFF,0XFF,0XFF,0XFF,0XFF,0XFF,0XFF,0XFF,0XFF,0XFF,0XFF,0XFF,0XFF,0XFF,
0XFF,0XFF,0XFF,0XFF,0XFF,0XFF,0XFF,0XFF,0XFF,0XFF,0XFF,0XFF,0XFF,0XFF,0XFF,0XFF,
0XFF,0XFF,0XFF,0XFF,0XFF,0XFF,0XFF,0XFF,0XFF,0XFF,0XFF,0XFF,0XFF,0XFF,0XFF,0XFF,
0XFF,0XFF,0XFF,0XFF,0XFF,0XFF,0XFF,0XFF,0XFF,0XFF,0XFF,0XFF,0XFF,0XFF,0XFF,0XFF,
0XFF,0XFF,0XFF,0XFF,0XFF,0XFF,0XFF,0XFF,0XFF,0XFF,0XFF,0XFF,0XFF,0XFF,0XFF,0XFF,
0XFF,0XFF,0XFF,0XFF,0XFF,0XFF,0XFF,0XFF,0XFF,0XFF,0XFF,0XFF,0XFF,0XFF,0XFF,0XFF,
0XFF,0XFF,0XFF,0XFF,0XFF,0XFF,0XFF,0XFF,0XFF,0XFF,0XFF,0XFF,0XFF,0XFF,0XFF,0XFF,
0XFF,0XFF,0XFF,0XFF,0XFF,0XFF,0XFF,0XFF,0XFF,0XFF,0XFF,0XFF,0XFF,0XFF,0XFF,0XFF,
0XFF,0XFF,0XFF,0XFF,0XFF,0XFF,0XFF,0XFF,0XFF,0XFF,0XFF,0XFF,0XFF,0XFF,0XFF,0XFF,
0XFF,0XFF,0XFF,0XFF,0XFF,0XFF,0XFF,0XFF,0XFF,0XFF,0XFF,0XFF,0XFF,0XFF,0XFF,0XFF,
0XFF,0XFF,0XFF,0XFF,0XFF,0XFF,0XFF,0XFF,0XFF,0XFF,0XFF,0XFF,0XFF,0XFF,0XFF,0XFF,
0XFF,0XFF,0XFF,0XFF,0XFF,0XFF,0XFF,0XFF,0XFF,0XFF,0XFF,0XFF,0XFF,0XFF,0XFF,0XFF,
0XFF,0XFF,0XFF,0XFF,0XFF,0XFF,0XFF,0XFF,0XFF,0XFF,0XFF,0XFF,0XFF,0XFF,0XFF,0XFF,
0XFF,0XFF,0XFF,0XFF,0XFF,0XFF,0XFF,0XFF,0XFF,0XFF,0XFF,0XFF,0XFF,0XFF,0XFF,0XFF,
0XFF,0XFF,0XFF,0XFF,0XFF,0XFF,0XFF,0XFF,0XFF,0XFF,0XFF,0XFF,0XFF,0XFF,0XFF,0XFF,
0XFF,0XFF,0XFF,0XFF,0XFF,0XFF,0XFF,0XFF,0XFF,0XFF,0XFF,0XFF,0XFF,0XFF,0XFF,0XFF,
0XFF,0XFF,0XFF,0XFF,0XFF,0XFF,0XFF,0XFF,0XFF,0XFF,0XFF,0XFF,0XFF,0XFF,0XFF,0XFF,
0XFF,0XFF,0XFF,0XFF,0XFF,0XFF,0XFF,0XFF,0XFF,0XFF,0XFF,0XFF,0XFF,0XFF,0XFF,0XFF,
0XFF,0XFF,0XFF,0XFF,0XFF,0XFF,0XFF,0XFF,0XFF,0XFF,0XFF,0XFF,0XFF,0XFF,0XFF,0XFF,
0XFF,0XFF,0XFF,0XFF,0XFF,0XFF,0XFF,0XFF,0XFF,0XFF,0XFF,0XFF,0XFF,0XFF,0XFF,0XFF,
0XFF,0XFF,0XFF,0XFF,0XFF,0XFF,0XFF,0XFF,0XFF,0XFF,0XFF,0XFF,0XFF,0XFF,0XFF,0XFF,
0XFF,0XFF,0XFF,0XFF,0XFF,0XFF,0XFF,0XFF,0XFF,0XFF,0XFF,0XFF,0XFF,0XFF,0XFF,0XFF,
0XFF,0XFF,0XFF,0XFF,0XFF,0XFF,0XFF,0XFF,0XFF,0XFF,0XFF,0XFF,0XFF,0XFF,0XFF,0XFF,
0XFF,0XFF,0XFF,0XFF,0XFF,0XFF,0XFF,0XFF,0XFF,0XFF,0XFF,0XFF,0XFF,0XFF,0XFF,0XFF,
0XFF,0XFF,0XFF,0XFF,0XFF,0XFF,0XFF,0XFF,0XFF,0XFF,0XFF,0XFF,0XFF,0XFF,0XFF,0XFF,
0XFF,0XFF,0XFF,0XFF,0XFF,0XFF,0XFF,0XFF,0XFF,0XFF,0XFF,0XFF,0XFF,0XFF,0XFF,0XFF,
0XFF,0XFF,0XFF,0XFF,0XFF,0XFF,0XFF,0XFF,0XFF,0XFF,0XFF,0XFF,0XFF,0XFF,0XFF,0XFF,
0XFF,0XFF,0XFF,0XFF,0XFF,0XFF,0XFF,0XFF,0XFF,0XFF,0XFF,0XFF,0XFF,0XFF,0XFF,0XFF,
0XFF,0XFF,0XFF,0XFF,0XFF,0XFF,0XFF,0XFF,0XFF,0XFF,0XFF,0XFF,0XFF,0XFF,0XFF,0XFF,
0XFF,0XFF,0XFF,0XFF,0XFF,0XFF,0XFF,0XFF,0XFF,0XFF,0XFF,0XFF,0XFF,0XFF,0XFF,0XFF,
0XFF,0XFF,0XFF,0XFF,0XFF,0XFF,0XFF,0XFF,0XFF,0XFF,0XFF,0XFF,0XFF,0XFF,0XFF,0XFF,
0XFF,0XFF,0XFF,0XFF,0XFF,0XFF,0XFF,0XFF,0XFF,0XFF,0XFF,0XFF,0XFF,0XFF,0XFF,0XFF,
0XFF,0XFF,0XFF,0XFF,0XFF,0XFF,0XFF,0XFF,0XFF,0XFF,0XFF,0XFF,0XFF,0XFF,0XFF,0XFF,
0XFF,0XFF,0XFF,0XFF,0XFF,0XFF,0XFF,0XFF,0XFF,0XFF,0XFF,0XFF,0XFF,0XFF,0XFF,0XFF,
0XFF,0XFF,0XFF,0XFF,0XFF,0XFF,0XFF,0XFF,0XFF,0XFF,0XFF,0XFF,0XFF,0XFF,0XFF,0XFF,
0XFF,0XFF,0XFF,0XFF,0XFF,0XFF,0XFF,0XFF,0XFF,0XFF,0XFF,0XFF,0XFF,0XFF,0XFF,0XFF,
0XFF,0XFF,0XFF,0XFF,0XFF,0XFF,0XFF,0XFF,0XFF,0XFF,0XFF,0XFF,0XFF,0XFF,0XFF,0XFF,
0XFF,0XFF,0XFF,0XFF,0XFF,0XFF,0XFF,0XFF,0XFF,0XFF,0XFF,0XFF,0XFF,0XFF,0XFF,0XFF,
0XFF,0XFF,0XFF,0XFF,0XFF,0XFF,0XFF,0XFF,0XFF,0XFF,0XFF,0XFF,0XFF,0XFF,0XFF,0XFF,
0XFF,0XFF,0XFF,0XFF,0XFF,0XFF,0XFF,0XFF,0XFF,0XFF,0XFF,0XFF,0XFF,0XFF,0XFF,0XFF,
0XFF,0XFF,0XFF,0XFF,0XFF,0XFF,0XFF,0XFF,0XFF,0XFF,0XFF,0XFF,0XFF,0XFF,0XFF,0XFF,
0XFF,0XFF,0XFF,0XFF,0XFF,0XFF,0XFF,0XFF,0XFF,0XFF,0XFF,0XFF,0XFF,0XFF,0XFF,0XFF,
0XFF,0XFF,0XFF,0XFF,0XFF,0XFF,0XFF,0XFF,0XFF,0XFF,0XFF,0XFF,0XFF,0XFF,0XFF,0XFF,
0XFF,0XFF,0XFF,0XFF,0XFF,0XFF,0XFF,0XFF,0XFF,0XFF,0XFF,0XFF,0XFF,0XFF,0XFF,0XFF,
0XFF,0XFF,0XFF,0XFF,0XFF,0XFF,0XFF,0XFF,0XFF,0XFF,0XFF,0XFF,0XFF,0XFF,0XFF,0XFF,
0XFF,0XFF,0XFF,0XFF,0XFF,0XFF,0XFF,0XFF,0XFF,0XFF,0XFF,0XFF,0XFF,0XFF,0XFF,0XFF,
0XFF,0XFF,0XFF,0XFF,0XFF,0XFF,0XFF,0XFF,0XFF,0XFF,0XFF,0XFF,0XFF,0XFF,0XFF,0XFF,
0XFF,0XFF,0XFF,0XFF,0XFF,0XFF,0XFF,0XFF,0XFF,0XFF,0XFF,0XFF,0XFF,0XFF,0XFF,0XFF,
0XFF,0XFF,0XFF,0XFF,0XFF,0XFF,0XFF,0XFF,0XFF,0XFF,0XFF,0XFF,0XFF,0XFF,0XFF,0XFF,
0XFF,0XFF,0XFF,0XFF,0XFF,0XFF,0XFF,0XFF,0XFF,0XFF,0XFF,0XFF,0XFF,0XFF,0XFF,0XFF,
0XFF,0XFF,0XFF,0XFF,0XFF,0XFF,0XFF,0XFF,0XFF,0XFF,0XFF,0XFF,0XFF,0XFF,0XFF,0XFF,
0XFF,0XFF,0XFF,0XFF,0XFF,0XFF,0XFF,0XFF,0XFF,0XFF,0XFF,0XFF,0XFF,0XFF,0XFF,0XFF,
0XFF,0XFF,0XFF,0XFF,0XFF,0XFF,0XFF,0XFF,0XFF,0XFF,0XFF,0XFF,0XFF,0XFF,0XFF,0XFF,
0XFF,0XFF,0XFF,0XFF,0XFF,0XFF,0XFF,0XFF,0XFF,0XFF,0XFF,0XFF,0XFF,0XFF,0XFF,0XFF,
0XFF,0XFF,0XFF,0XFF,0XFF,0XFF,0XFF,0XFF,0XFF,0XFF,0XFF,0XFF,0XFF,0XFF,0XFF,0XFF,
0XFF,0XFF,0XFF,0XFF,0XFF,0XFF,0XFF,0XFF,0XFF,0XFF,0XFF,0XFF,0XFF,0XFF,0XFF,0XFF,
0XFF,0XFF,0XFF,0XFF,0XFF,0XFF,0XFF,0XFF,0XFF,0XFF,0XFF,0XFF,0XFF,0XFF,0XFF,0XFF,
0XFF,0XFF,0XFF,0XFF,0XFF,0XFF,0XFF,0XFF,0XFF,0XFF,0XFF,0XFF,0XFF,0XFF,0XFF,0XFF,
0XFF,0XFF,0XFF,0XFF,0XFF,0XFF,0XFF,0XFF,0XFF,0XFF,0XFF,0XFF,0XFF,0XFF,0XFF,0XFF,
0XFF,0XFF,0XFF,0XFF,0XFF,0XFF,0XFF,0XFF,0XFF,0XFF,0XFF,0XFF,0XFF,0XFF,0XFF,0XFF,
0XFF,0XFF,0XFF,0XFF,0XFF,0XFF,0XFF,0XFF,0XFF,0XFF,0XFF,0XFF,0XFF,0XFF,0XFF,0XFF,
};

/* USER CODE END PV */

void SystemClock_Config(void);

int main(void)
{

  /* MCU Configuration--------------------------------------------------------*/

  /* Reset of all peripherals, Initializes the Flash interface and the Systick. */
  HAL_Init();

  /* Configure the system clock */
  SystemClock_Config();

  /* Initialize all configured peripherals */
  MX_GPIO_Init();
  MX_SPI1_Init();
  /* USER CODE BEGIN 2 */
	EPD_Init(EPD_FULL);		//初始化，参数为全屏刷新
	EPD_Display((uint8_t*)gImage_logo);		//显示HiGeek的logo
//	EPD_Clear(0xfe);
  /* USER CODE END 2 */

  /* Infinite loop */
  /* USER CODE BEGIN WHILE */
  while (1)
  {
//		HAL_Delay(5000);
    /* USER CODE END WHILE */
  }
}

void SystemClock_Config(void)
{
  RCC_OscInitTypeDef RCC_OscInitStruct = {0};
  RCC_ClkInitTypeDef RCC_ClkInitStruct = {0};

  /** Initializes the CPU, AHB and APB busses clocks
  */
  RCC_OscInitStruct.OscillatorType = RCC_OSCILLATORTYPE_HSI;
  RCC_OscInitStruct.HSIState = RCC_HSI_ON;
  RCC_OscInitStruct.HSICalibrationValue = RCC_HSICALIBRATION_DEFAULT;
  RCC_OscInitStruct.PLL.PLLState = RCC_PLL_ON;
  RCC_OscInitStruct.PLL.PLLSource = RCC_PLLSOURCE_HSI;
  RCC_OscInitStruct.PLL.PLLMUL = RCC_PLL_MUL12;
  RCC_OscInitStruct.PLL.PREDIV = RCC_PREDIV_DIV1;
  if (HAL_RCC_OscConfig(&RCC_OscInitStruct) != HAL_OK)
  {
    Error_Handler();
  }
  /** Initializes the CPU, AHB and APB busses clocks
  */
  RCC_ClkInitStruct.ClockType = RCC_CLOCKTYPE_HCLK|RCC_CLOCKTYPE_SYSCLK
                              |RCC_CLOCKTYPE_PCLK1;
  RCC_ClkInitStruct.SYSCLKSource = RCC_SYSCLKSOURCE_PLLCLK;
  RCC_ClkInitStruct.AHBCLKDivider = RCC_SYSCLK_DIV1;
  RCC_ClkInitStruct.APB1CLKDivider = RCC_HCLK_DIV1;

  if (HAL_RCC_ClockConfig(&RCC_ClkInitStruct, FLASH_LATENCY_1) != HAL_OK)
  {
    Error_Handler();
  }
}

void Error_Handler(void)
{
}

/************************ (C) COPYRIGHT STMicroelectronics *****END OF FILE****/
